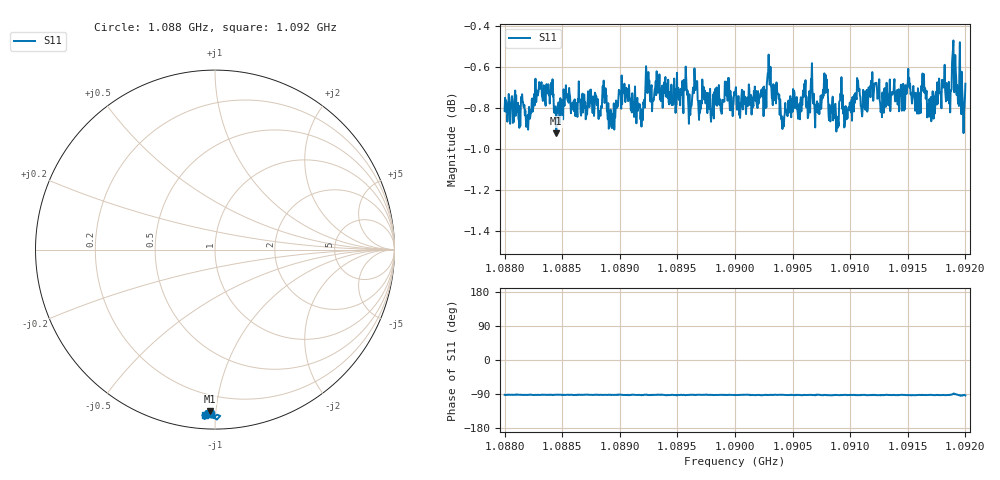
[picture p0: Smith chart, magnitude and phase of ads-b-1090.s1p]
! Calibrated averaged scanner-service zoom
# Hz S RI R 50
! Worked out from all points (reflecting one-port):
!   1001 points, 1.088 GHz to 1.092 GHz, reference 50 ohm
!   lowest |S11| = -0.9 dB at 1.08845 GHz (marker M1), VSWR 18.84, Z = 5.13 - j48.2 ohm
!   phase of S11 starts at -92 deg and turns -1 deg over the sweep
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1.088e9  -0.0294 -0.9101
1.088204e9  -0.0319 -0.9004
1.0883e9  -0.0306 -0.9248
1.088448e9  -0.0277 -0.8988
1.0885e9  -0.031 -0.9155
1.088864e9  -0.0345 -0.9185
1.088924e9  -0.0334 -0.907
1.089e9  -0.0188 -0.9201
1.089064e9  -0.0365 -0.9209
1.089344e9  -0.0313 -0.9288
1.0895e9  -0.0396 -0.9168
1.089692e9  -0.0284 -0.9152
1.09e9  -0.0308 -0.9187
1.090096e9  -0.0237 -0.9085
1.09016e9  -0.0369 -0.9121
1.090296e9  -0.0327 -0.9297
1.090408e9  -0.0265 -0.9034
1.0905e9  -0.0368 -0.9093
1.09072e9  -0.0232 -0.9139
1.090784e9  -0.0397 -0.9188
1.09088e9  -0.0333 -0.8994
1.091e9  -0.0443 -0.9127
1.0915e9  -0.0434 -0.9241
1.091688e9  -0.028 -0.9161
1.09184e9  -0.0436 -0.9179
1.091908e9  -0.00596 -0.9317
1.091956e9  -0.0569 -0.9193
1.092e9  -0.0539 -0.9229
